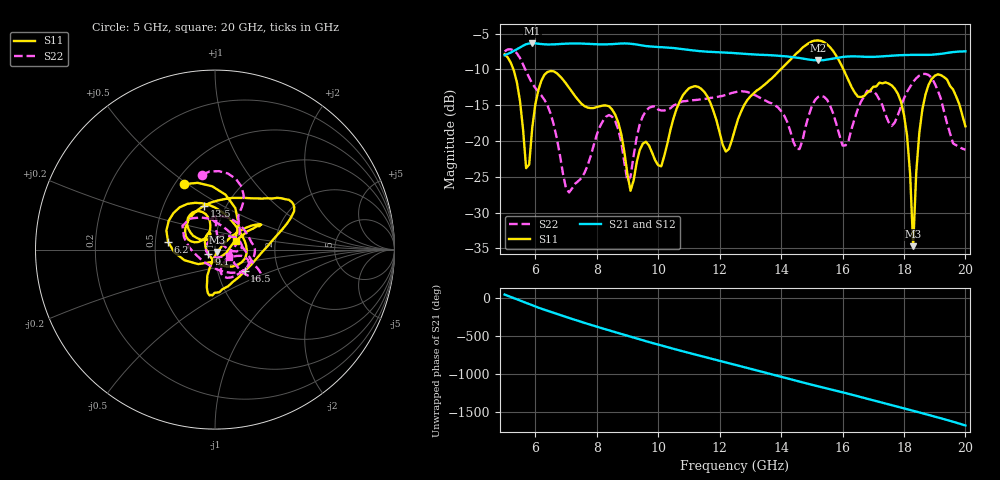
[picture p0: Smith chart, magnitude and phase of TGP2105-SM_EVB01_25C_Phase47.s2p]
! Date: Wednesday, June 05, 2013  1:52 PM
! Filename: C:\Data\Mike_Arnold\TGP2105-SM\Over_Temp\TGP2105-SM_EVB01_25C_Phase47.s2p
! Comments:
!^VDC(V):5.000
!^VDC(mA):0.128
!%Freq(GHz),S11(dB),S11(ang),S21(dB),S21(ang),S12(dB),S12(ang),S22(dB),S22(ang)
# GHz  S  DB  R  50
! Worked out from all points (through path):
!   151 points, 5 GHz to 20 GHz, reference 50 ohm
!   highest |S21| = -6.33 dB at 5.9 GHz (marker M1); lowest = -8.7 dB at 15.2 GHz (marker M2)
!   lowest |S11| = -34.7 dB at 18.3 GHz (marker M3), VSWR 1.04, Z = 51.3 - j1.29 ohm
!   |S11| at or under -10 dB: 5.288 GHz to 13.98 GHz (8.697 GHz wide, 90.2 % of centre); 16.03 GHz to end of sweep
!   |S22| runs from -27.2 to -7.2 dB; largest |S21 - S12| = 0.0022
!   S11 on the Smith chart (normalised r, x): 5 GHz: 0.55, +0.48; 6.2 GHz: 0.58, +0.05; 9.1 GHz: 0.93, -0.05; 13.5 GHz: 0.79, +0.41; 16.5 GHz: 1.35, -0.34; 20 GHz: 1.26, +0.13
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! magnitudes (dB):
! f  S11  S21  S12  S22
! 5 GHz  -7.9  -8.0  -8.0  -7.5
! 5.7 GHz  -23.8  -6.5  -6.5  -10.2
! 5.9 GHz  -18.1  -6.3  -6.3  -12.0
! 6.2 GHz  -11.5  -6.4  -6.5  -13.6
! 7 GHz  -12.0  -6.4  -6.4  -26.6
! 7.5 GHz  -14.8  -6.4  -6.4  -25.2
! 8.4 GHz  -15.1  -6.5  -6.5  -16.4
! 9.1 GHz  -27.0  -6.4  -6.4  -25.0
! 10 GHz  -23.4  -6.9  -6.9  -15.6
! 11 GHz  -12.6  -7.3  -7.3  -14.3
! 12.5 GHz  -18.4  -7.7  -7.7  -13.2
! 13.5 GHz  -12.0  -8.0  -8.0  -14.4
! 14.5 GHz  -7.7  -8.3  -8.4  -21.1
! 15 GHz  -6.1  -8.7  -8.7  -15.2
! 15.2 GHz  -5.9  -8.7  -8.7  -13.9
! 16.5 GHz  -13.8  -8.2  -8.2  -15.5
! 17.5 GHz  -12.0  -8.1  -8.1  -17.4
! 18 GHz  -16.3  -8.0  -8.0  -14.0
! 18.3 GHz  -34.7  -8.0  -8.0  -11.7
! 18.5 GHz  -18.9  -8.0  -8.0  -10.9
! 18.8 GHz  -12.2  -8.0  -8.0  -10.8
! 20 GHz  -17.9  -7.5  -7.5  -21.2
